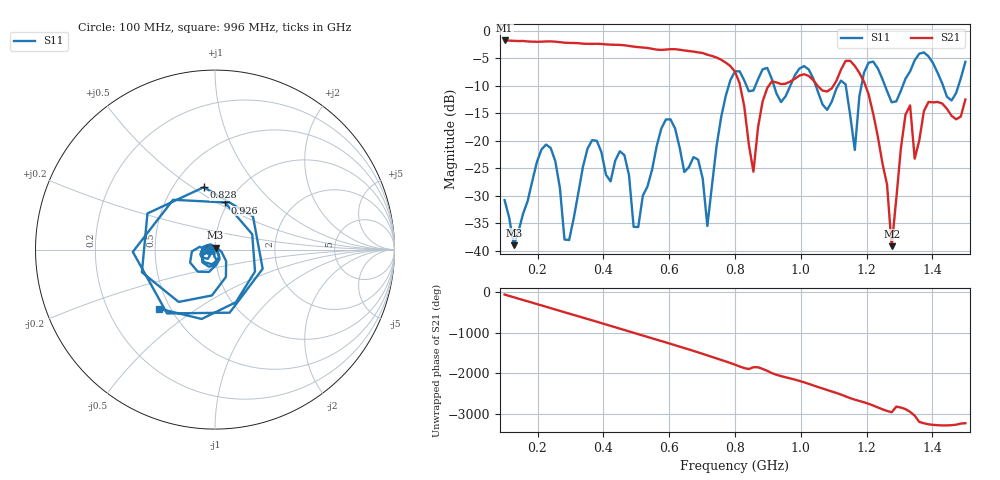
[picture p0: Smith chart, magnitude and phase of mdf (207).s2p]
! NanoVNA-App
! Date: 2025-09-25 15:40:02
! Start: 100MHz Stop: 1,5GHz Points: 101
! S-Parameter data: F S11 S21 S12 S22
# Hz S RI R 50
!  Frequency  S11_Real  S11_Imag  S21_Real  S21_Imag  S12_Real  S12_Imag  S22_Real  S22_Imag
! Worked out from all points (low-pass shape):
!   101 points, 100 MHz to 1.5 GHz, reference 50 ohm
!   highest |S21| = -1.80 dB at 100 MHz (marker M1); lowest = -39.1 dB at 1.276 GHz (marker M2)
!   |S21| within 3 dB of the highest: start of sweep to 739.2 MHz
!   lowest |S11| = -39.0 dB at 128 MHz (marker M3), VSWR 1.02, Z = 50.3 + j1.08 ohm
!   |S11| at or under -10 dB: start of sweep to 781 MHz; 918.4 MHz to 968.2 MHz (49.79 MHz wide, 5.28 % of centre); 1.045 GHz to 1.113 GHz (67.83 MHz wide, 6.28 % of centre) (the widest 3 of 7)
!   S12 and S22 are empty: the file has one direction only
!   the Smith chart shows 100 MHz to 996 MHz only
!   S11 on the Smith chart (normalised r, x): 100 MHz: 0.94, -0.01; 828 MHz: 0.70, +0.56; 926 MHz: 0.97, +0.55; 996 MHz: 0.44, -0.36
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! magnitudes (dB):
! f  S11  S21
! 100 MHz  -30.8  -1.8
! 128 MHz  -39.0  -1.9
! 212 MHz  -21.6  -2.0
! 282 MHz  -37.9  -2.2
! 338 MHz  -24.7  -2.4
! 464 MHz  -22.6  -2.7
! 506 MHz  -35.7  -3.0
! 576 MHz  -17.8  -3.5
! 716 MHz  -35.5  -4.4
! 800 MHz  -7.4  -7.5
! 828 MHz  -9.0  -13.7
! 856 MHz  -10.9  -25.6
! 926 MHz  -11.4  -9.4
! 996 MHz  -6.9  -8.2
! 1.038 GHz  -8.7  -9.0
! 1.136 GHz  -9.8  -5.5
! 1.164 GHz  -21.7  -6.4
! 1.192 GHz  -7.6  -9.3
! 1.276 GHz  -13.0  -39.1
! 1.332 GHz  -7.4  -13.6
! 1.346 GHz  -5.4  -23.3
! 1.5 GHz  -5.7  -12.5
